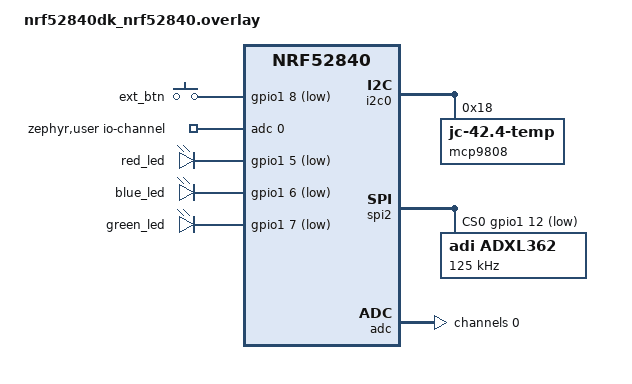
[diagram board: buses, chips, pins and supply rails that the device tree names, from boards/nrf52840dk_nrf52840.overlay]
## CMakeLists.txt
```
cmake_minimum_required(VERSION 3.20.0)

find_package(
    Zephyr
    REQUIRED
    HINTS
    $ENV{ZEPHYR_BASE}
)

project(
    hydration_sensor
    LANGUAGES C
)

target_include_directories(
    app
    PRIVATE
    src
)

file(GLOB_RECURSE app_sources CONFIGURE_DEPENDS src/*.c)
target_sources(
    app
    PRIVATE
    ${app_sources}
)
```

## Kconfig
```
mainmenu "Hydration Sensor"

config FSM_ENUM_STRINGS
	bool "Include enum-to-string helpers"
	default y
	help
	  Turns enum to strings

choice FSM_MEASURE_MODE
	prompt "Measurement mode"
	default FSM_MEASURE_MODE_MANUAL
	help
	  Selects the M_IDLE -> MEASURING trigger.

config FSM_MEASURE_MODE_MANUAL
	bool "Manual"
	help
	  Short button press to trigger

config FSM_MEASURE_MODE_TIMER
	bool "Timer"

config FSM_MEASURE_MODE_CONTINUOUS
	bool "Continuous"

endchoice

config MEASURE_INTERVAL_S
	int "Measurement Interval (s)"
	default 60
	range 1 86400
	help
	  Seconds the device waits in the idle measurement state before it starts the next measurement.

config BENCH_ALLOW_USB
	bool "Allow measuring while connected"
	help
	  Lets a measurement start while charger power is present.

config PAIRING_TIMEOUT_S
	int "PAIRING window"
	default 60
	range 10 600

config RECORD_SLOTS
	int "Record capacity"
	default 64
	range 4 512

source "Kconfig.zephyr"
```

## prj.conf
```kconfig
# Zero-warnings acceptance criterion
CONFIG_COMPILER_WARNINGS_AS_ERRORS=y
CONFIG_ASSERT=y

# Enables the logging module
CONFIG_LOG=y
CONFIG_CBPRINTF_FP_SUPPORT=y

# IO Input
CONFIG_GPIO=y
CONFIG_INPUT=y
CONFIG_INPUT_GPIO_KEYS=y
CONFIG_INPUT_LONGPRESS=y

# FSM options
CONFIG_FSM_ENUM_STRINGS=y
CONFIG_FSM_MEASURE_MODE_MANUAL=y

# External Sensor
CONFIG_SENSOR=y
CONFIG_I2C=y
CONFIG_SPI=y

# Custom Shell
CONFIG_SHELL=y
CONFIG_THREAD_STACK_INFO=y
CONFIG_INIT_STACKS=y
CONFIG_THREAD_ANALYZER=y
CONFIG_THREAD_ANALYZER_USE_PRINTK=n

# Hydration specific
CONFIG_MEASURE_INTERVAL_S=60
CONFIG_BENCH_ALLOW_USB=n

# Battery monitor, watchdog, reset cause
CONFIG_ADC=y
CONFIG_WATCHDOG=y
CONFIG_TASK_WDT=y
CONFIG_TASK_WDT_MIN_TIMEOUT=1000
CONFIG_HWINFO=y

# Records
CONFIG_FLASH=y
CONFIG_FLASH_MAP=y
CONFIG_NVS=y
CONFIG_SETTINGS=y
CONFIG_PM_PARTITION_SIZE_SETTINGS_STORAGE=0x4000

# BLE
CONFIG_CRC=y
CONFIG_BT=y
CONFIG_BT_DEVICE_NAME="Hydration"
CONFIG_BT_PERIPHERAL=y
CONFIG_BT_SMP=y
CONFIG_BT_SETTINGS=y
CONFIG_BT_FILTER_ACCEPT_LIST=y
CONFIG_BT_SMP_APP_PAIRING_ACCEPT=y
CONFIG_BT_KEYS_OVERWRITE_OLDEST=y
CONFIG_BT_SMP_ALLOW_UNAUTH_OVERWRITE=y
```

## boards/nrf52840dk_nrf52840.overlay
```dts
/ {
    aliases {
        temp0 = &mcp9808;
        accel0 = &adxl362;
        ext-btn = &ext_btn;
        btn-press = &btn_press;
        red-led = &red_led;
        green-led = &green_led;
        blue-led = &blue_led;
    };

    ext_buttons: ext_buttons {
        compatible = "gpio-keys";
        debounce-interval-ms = <50>;

        ext_btn: ext_btn {
            gpios = <&gpio1 8 (GPIO_ACTIVE_LOW | GPIO_PULL_UP)>;
            zephyr,code = <INPUT_KEY_0>;
        };
    };

    btn_press: press {
        compatible = "zephyr,input-longpress";
        input = <&ext_buttons>;
        input-codes = <INPUT_KEY_0>;
        short-codes = <INPUT_KEY_A>;
        long-codes = <INPUT_KEY_X>;
        long-delay-ms = <2000>;
    };

    // Initialize battery monitor
    zephyr,user {
        io-channels = <&adc 0>;
    };

    leds {
        compatible = "gpio-leds";

        red_led: red_led {
            gpios = <&gpio1 5 GPIO_ACTIVE_LOW>;
        };

        blue_led: blue_led {
            gpios = <&gpio1 6 GPIO_ACTIVE_LOW>;
        };

        green_led: green_led {
            gpios = <&gpio1 7 GPIO_ACTIVE_LOW>;
        };
    };
};

&pinctrl {
    // Reroute signal to GPIO pins
    spi2_default: spi2_default {
        group1 {
            psels = <NRF_PSEL(SPIM_SCK,  1, 15)>,
                    <NRF_PSEL(SPIM_MISO, 1, 14)>,
                    <NRF_PSEL(SPIM_MOSI, 1, 13)>;
        };
    };

    spi2_sleep: spi2_sleep {
        group1 {
            psels = <NRF_PSEL(SPIM_SCK,  1, 15)>,
                    <NRF_PSEL(SPIM_MISO, 1, 14)>,
                    <NRF_PSEL(SPIM_MOSI, 1, 13)>;
            low-power-enable;
        };
    };
};

&i2c0 {
    mcp9808: jc42@18 {
        /** Migration to Zephyr v4.0, which is used by NCS v3.2.4 migrates
         *  MCP9808 driver to a generic JEDEC JC-42.4. Source found in
         *  https://docs.zephyrproject.org/latest/build/dts/api/bindings/sensor/jedec%2Cjc-42.4-temp.html
         */
        compatible = "jedec,jc-42.4-temp";
        reg = <0x18>;
        status = "okay";
    };
};

// The board puts the SPI1 MISO pin on P1.08. The button uses P1.08, so keep SPI1 off.
&spi1 {
    status = "disabled";
};

&spi2 {
    status = "okay";
    cs-gpios = <&gpio1 12 GPIO_ACTIVE_LOW>;

    adxl362: adxl362@0 {
        compatible = "adi,adxl362";
        reg = <0>;
        spi-max-frequency = <125000>;
    };
};

&adc {
    #address-cells = <1>;
    #size-cells = <0>;

    channel@0 {
        reg = <0>;
        zephyr,gain = "ADC_GAIN_1_6";
        zephyr,reference = "ADC_REF_INTERNAL";
        zephyr,acquisition-time = <ADC_ACQ_TIME_DEFAULT>;
        zephyr,input-positive = <NRF_SAADC_VDD>;
        zephyr,resolution = <12>;
    };
};
```

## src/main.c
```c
#include "fsm/state_machine.h"

#include <zephyr/kernel.h>

/**
 * @brief Application entry point.
 *
 * The function initializes the state machine. Then it waits on fsm_msgq forever and sends each
 * event that it receives to state_machine_process_event().
 *
 * @return The function does not return. The return statement at the end is not reachable.
 */
int main(void)
{
    state_machine_init();

    for (;;) {
        state_event_e event;
        k_msgq_get(&fsm_msgq, &event, K_FOREVER);
        state_machine_process_event(event);
    }
    return 0;
}
```
